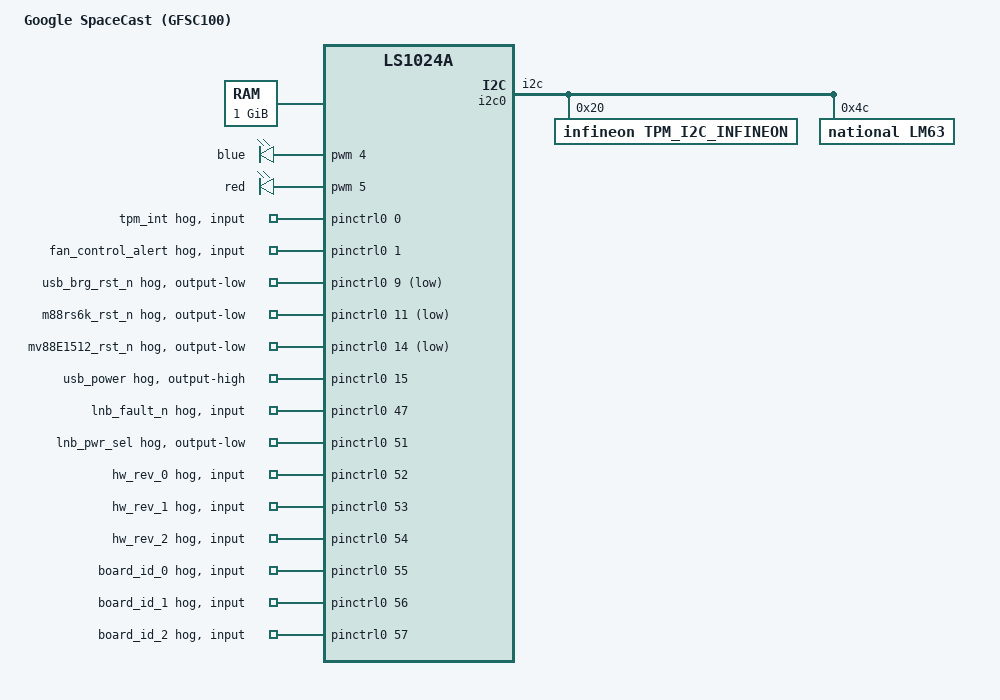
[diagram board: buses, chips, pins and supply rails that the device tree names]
/dts-v1/;

#include "ls1024a.dtsi"
/ {
	model = "Google SpaceCast (GFSC100)";
	compatible = "google,gfsc100", "fsl,ls1024a";

	chosen {
		bootargs = "log_buf_len=8M";
	};

	memory {
		device_type = "memory";
		reg = <0x80000000 0x40000000>; /* 1 GB */
	};

	pwmleds {
		compatible = "pwm-leds";
		pinctrl-names = "default";
		pinctrl-0 = <&pinctrl_gfsc100_leds>;

		pwmledblue: pwmledblue {
			label = "blue";
			pwms = <&pwm 4 1000000>;
			max-brightness = <200>;
		};
		pwmledred: pwmledred {
			label = "red";
			pwms = <&pwm 5 1000000>;
			max-brightness = <200>;
			linux,default-trigger = "default-on";
		};
	};
};

&pinctrl0 {
	tpm_int {
		gpio-hog;
		gpios = <0 GPIO_ACTIVE_HIGH>;
		input;
		line-name = "tpm_int";
	};
	fan_control_alert {
		gpio-hog;
		gpios = <1 GPIO_ACTIVE_HIGH>;
		input;
		line-name = "fan_control_alert";
	};
	usb_brg_rst_n {
		gpio-hog;
		gpios = <9 GPIO_ACTIVE_LOW>;
		output-low;
		line-name = "usb_brg_rst_n";
	};
	m88rs6k_rst_n {
		gpio-hog;
		gpios = <11 GPIO_ACTIVE_LOW>;
		output-low;
		line-name = "m88rs6k_rst_n";
	};
	mv88E1512_rst_n {
		gpio-hog;
		gpios = <14 GPIO_ACTIVE_LOW>;
		output-low;
		line-name = "mv88E1512_rst_n";
	};
	usb_power {
		gpio-hog;
		gpios = <15 GPIO_ACTIVE_HIGH>;
		output-high;
		line-name = "usb_power";
	};
	lnb_fault_n {
		gpio-hog;
		gpios = <47 GPIO_ACTIVE_HIGH>;
		input;
		line-name = "lnb_fault_n";
	};
	lnb_pwr_sel {
		gpio-hog;
		gpios = <51 GPIO_ACTIVE_HIGH>;
		output-low;
		line-name = "lnb_pwr_sel";
	};
	hw_rev_0 {
		gpio-hog;
		gpios = <52 GPIO_ACTIVE_HIGH>;
		input;
		line-name = "hw_rev_0";
	};
	hw_rev_1 {
		gpio-hog;
		gpios = <53 GPIO_ACTIVE_HIGH>;
		input;
		line-name = "hw_rev_1";
	};
	hw_rev_2 {
		gpio-hog;
		gpios = <54 GPIO_ACTIVE_HIGH>;
		input;
		line-name = "hw_rev_2";
	};
	board_id_0 {
		gpio-hog;
		gpios = <55 GPIO_ACTIVE_HIGH>;
		input;
		line-name = "board_id_0";
	};
	board_id_1 {
		gpio-hog;
		gpios = <56 GPIO_ACTIVE_HIGH>;
		input;
		line-name = "board_id_1";
	};
	board_id_2 {
		gpio-hog;
		gpios = <57 GPIO_ACTIVE_HIGH>;
		input;
		line-name = "board_id_2";
	};
	pinctrl_gfsc100_leds: gfsc100-leds-grp {
		leds {
			groups = "pwm4", "pwm5";
			function = "pwm";
		};
	};
	pinctrl_i2c: i2cgrp {
		i2c {
			groups = "i2c";
			function = "i2c";
		};
	};
};

/* TODO(mka@): specify the partition layout only in the bootloader */
&nor0 {
	uloader@0 {
		label = "uloader";
		reg = <0x0 0x20000>;
	};
	loader0@20000 {
		label = "loader0";
		reg = <0x20000 0x80000>;
	};
	loader1@a0000 {
		label = "loader1";
		reg = <0xa0000 0x80000>;
	};
	env@120000 {
		label = "env";
		reg = <0x120000 0x20000>;
	};
	hnvram@140000 {
		label = "hnvram";
		reg = <0x140000 0x200000>;
	};
	kernel0@340000 {
		label = "kernel0";
		reg = <0x340000 0x600000>;
	};
	kernel1@940000 {
		label = "kernel1";
		reg = <0x940000 0x600000>;
	};
	norreserved0@F40000 {
		label = "norreserved0";
		reg = <0xF40000 0x00c0000>;
	};
};

&i2c0 {
	pinctrl-names = "default";
	pinctrl-0 = <&pinctrl_i2c>;
	tpm_i2c_infineon: tpm_i2c_infineon@20 {
		compatible = "infineon,tpm_i2c_infineon";
		reg = <0x20>;
	};
	lm63: lm63@4c {
		compatible = "national,lm63";
		reg = <0x4c>;
	};
};
